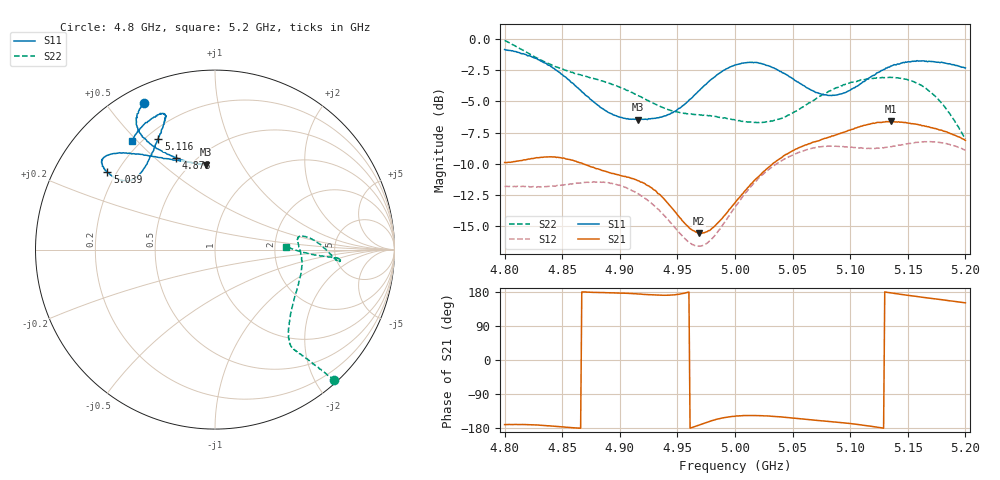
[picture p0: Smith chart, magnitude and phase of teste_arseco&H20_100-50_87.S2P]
! Network Analyzer HP8722D
! Hewlett-Packard
! Data name: Linha & Wilkinson
! Saver's name: Rodrigo Anjos
! Comments: Teste da utilização de aquisição
! continua pelo VNA HP8722D
! Time and date: 6/5/2025 13:17
!  Frequency  S11  S21  S12  S22
# HZ  S  MA R 50
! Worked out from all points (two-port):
!   401 points, 4.8 GHz to 5.2 GHz, reference 50 ohm
!   highest |S21| = -6.60 dB at 5.135 GHz (marker M1); lowest = -15.6 dB at 4.969 GHz (marker M2)
!   |S21| within 3 dB of the highest: 4.822 GHz to 4.853 GHz (30.4 MHz wide, 0.628 % of centre); 5.039 GHz to end of sweep
!   lowest |S11| = -6.5 dB at 4.916 GHz (marker M3), VSWR 2.81, Z = 29.1 + j35.5 ohm
!   |S11| at or under -10 dB: nowhere
!   |S22| runs from -8.0 to -0.1 dB; largest |S21 - S12| = 0.83
!   S11 on the Smith chart (normalised r, x): 4.8 GHz: 0.07, +0.62; 4.878 GHz: 0.40, +0.59; 5.039 GHz: 0.16, +0.32; 5.116 GHz: 0.24, +0.59; 5.2 GHz: 0.17, +0.48
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4.8e9  0.9053 115.8  0.3203 -170.5  0.2573 -86.1  0.9846 -47.6
4.834e9  0.8035 122.4  0.3367 -172.7  0.2562 -76.9  0.8119 -49.6
4.847e9  0.7374 122.5  0.3352 -175.8  0.259 -72.6  0.7656 -50.6
4.867e9  0.6141 117.9  0.3183 179.7  0.266 -67.5  0.7147 -51.5
4.878e9  0.5562 112.9  0.3049 178.5  0.2677 -66.0  0.6919 -51.8
4.9e9  0.4858 101.1  0.2848 176.8  0.2596 -66.6  0.6401 -50.2
4.916e9  0.4752 96.4  0.2708 174.2  0.24 -68.3  0.5926 -46.1
4.934e9  0.4838 99.2  0.2396 171.1  0.2073 -69.5  0.5391 -37.6
4.948e9  0.5137 107.8  0.2034 172.0  0.1756 -66.7  0.512 -28.4
4.969e9  0.6208 123.5  0.1669 -171.5  0.1483 -48.0  0.4971 -15.0
4.981e9  0.6965 130.0  0.176 -159.2  0.1605 -33.9  0.4902 -8.8
5e9  0.7853 137.3  0.2212 -148.5  0.2127 -21.4  0.4734 -0.3
5.019e9  0.8034 141.7  0.2777 -146.7  0.2721 -18.3  0.4626 5.9
5.039e9  0.74 144.2  0.3317 -149.9  0.3216 -18.3  0.4786 9.1
5.067e9  0.6216 142.1  0.385 -158.1  0.3654 -20.6  0.562 4.7
5.088e9  0.5961 132.9  0.4136 -164.0  0.3718 -23.7  0.6375 -1.8
5.116e9  0.6948 117.0  0.4551 -174.1  0.3651 -26.9  0.6907 -5.4
5.134e9  0.7697 111.2  0.4653 177.8  0.3693 -28.7  0.7012 -4.8
5.135e9  0.777 111.1  0.4679 177.3  0.3704 -28.8  0.7006 -4.9
5.164e9  0.8161 113.3  0.4491 165.0  0.3878 -36.0  0.642 -3.6
5.181e9  0.8029 119.3  0.4274 158.4  0.3831 -41.2  0.5421 -2.9
5.2e9  0.764 127.3  0.3925 150.8  0.3584 -46.4  0.3975 2.4
